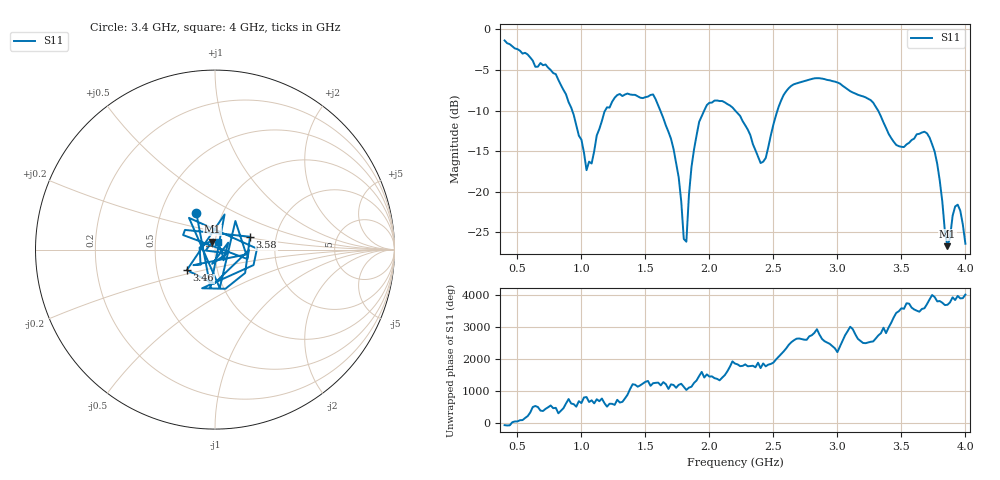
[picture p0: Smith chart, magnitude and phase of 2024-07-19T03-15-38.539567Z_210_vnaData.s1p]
!Created with skrf (http://scikit-rf.org).
# Hz S RI R 50.0
!freq ReS11 ImS11
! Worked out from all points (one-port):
!   181 points, 400 MHz to 4 GHz, reference 50 ohm
!   lowest |S11| = -26.7 dB at 3.86 GHz (marker M1), VSWR 1.10, Z = 48.3 + j4.2 ohm
!   |S11| at or under -10 dB: 1.616 GHz to 1.96 GHz (343.4 MHz wide, 19.2 % of centre); 2.201 GHz to 2.532 GHz (330.8 MHz wide, 14 % of centre); 3.318 GHz to end of sweep (the widest 3 of 4)
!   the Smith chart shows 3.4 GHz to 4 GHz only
!   S11 on the Smith chart (normalised r, x): 3.4 GHz: 0.75, +0.32; 3.46 GHz: 0.71, -0.17; 3.58 GHz: 1.47, +0.22; 4 GHz: 1.03, +0.09
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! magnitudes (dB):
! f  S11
! 400 MHz  -1.4
! 860 MHz  -7.5
! 1.04 GHz  -17.4
! 1.18 GHz  -10.1
! 1.3 GHz  -8.0
! 1.56 GHz  -8.0
! 1.7 GHz  -13.5
! 1.76 GHz  -18.2
! 1.8 GHz  -25.8
! 1.82 GHz  -26.2
! 1.86 GHz  -17.0
! 1.92 GHz  -11.4
! 2.04 GHz  -8.8
! 2.2 GHz  -10.0
! 2.4 GHz  -16.5
! 2.56 GHz  -8.8
! 2.66 GHz  -6.8
! 3.1 GHz  -7.6
! 3.28 GHz  -9.0
! 3.4 GHz  -12.9
! 3.46 GHz  -14.2
! 3.56 GHz  -14.0
! 3.58 GHz  -13.6
! 3.68 GHz  -12.6
! 3.76 GHz  -15.1
! 3.86 GHz  -26.7
! 3.94 GHz  -21.6
! 4 GHz  -26.4
